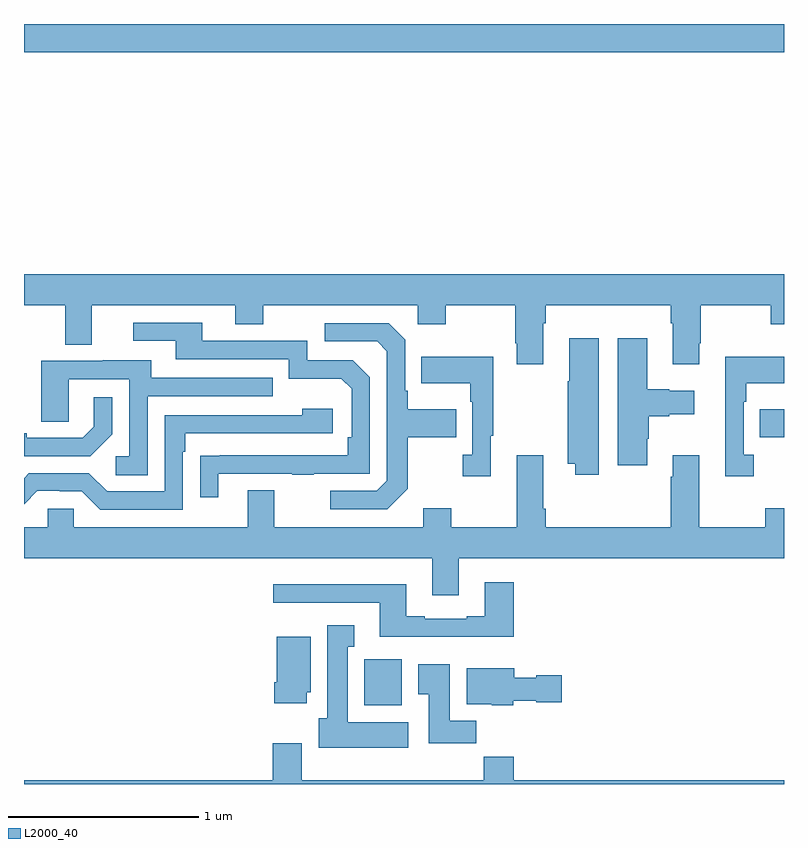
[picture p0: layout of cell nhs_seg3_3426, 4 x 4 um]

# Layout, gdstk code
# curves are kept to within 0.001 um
import gdstk
lib = gdstk.Library(unit=1e-6, precision=1e-09)
def R(c, l, rs):  # rectangles x0, y0, x1, y1
    for r in rs: c.add(gdstk.rectangle(r[:2], r[2:], *l))
def P(c, l, *ps):  # polygons
    for p in ps: c.add(gdstk.Polygon(p, *l))
L2000_40 = (2000, 40)

nhs_seg3_3426 = lib.new_cell('nhs_seg3_3426')
R(nhs_seg3_3426, L2000_40, [(290.792,694.814,290.989,695.056), (292.873,696.226,293,696.373), (289,698.252,293,698.4)])
P(nhs_seg3_3426, L2000_40, [(291.733,696.824),(291.746,696.824),(291.746,696.92),(292.403,696.92),(292.403,696.824),(292.415,696.824),(292.415,696.609),(292.555,696.609),(292.555,696.721),(292.563,696.721),(292.563,696.92),(292.93,696.92),(292.93,696.821),(293,696.821),(293,697.084),(289,697.084),(289,696.92),(289.217,696.92),(289.217,696.712),(289.357,696.712),(289.357,696.92),(290.111,696.92),(290.111,696.821),(290.259,696.821),(290.259,696.92),(291.072,696.92),(291.072,696.821),(291.219,696.821),(291.219,696.92),(291.586,696.92),(291.586,696.721),(291.593,696.721),(291.593,696.609),(291.733,696.609)],
  [(290.023,696.033),(290.413,696.033),(290.413,696.028),(290.525,696.028),(290.525,696.033),(290.82,696.033),(290.82,696.54),(290.73,696.63),(290.49,696.63),(290.49,696.732),(289.939,696.732),(289.939,696.828),(289.575,696.828),(289.575,696.732),(289.799,696.732),(289.799,696.636),(290.394,696.636),(290.394,696.533),(290.671,696.533),(290.724,696.48),(290.724,696.226),(290.704,696.226),(290.704,696.129),(289.927,696.128),(289.927,695.91),(290.023,695.91)],
  [(291.019,695.953),(291.019,696.226),(291.275,696.226),(291.275,696.373),(291.019,696.373),(291.019,696.469),(291.006,696.469),(291.006,696.738),(290.919,696.825),(290.583,696.825),(290.583,696.729),(290.859,696.729),(290.91,696.678),(290.91,695.997),(290.856,695.943),(290.613,695.943),(290.613,695.847),(290.913,695.847)],
  [(292.024,696.745),(291.869,696.745),(291.869,696.521),(291.862,696.521),(291.862,696.086),(291.902,696.086),(291.902,696.027),(292.024,696.027)],
  [(292.279,696.217),(292.287,696.217),(292.287,696.335),(292.395,696.335),(292.395,696.347),(292.528,696.347),(292.528,696.469),(292.395,696.469),(292.395,696.477),(292.279,696.477),(292.279,696.745),(292.124,696.745),(292.124,696.078),(292.279,696.078)],
  [(291.457,696.233),(291.469,696.233),(291.469,696.649),(291.091,696.649),(291.091,696.509),(291.348,696.509),(291.348,696.413),(291.36,696.413),(291.36,696.134),(291.309,696.134),(291.309,696.021),(291.457,696.021)],
  [(292.84,696.134),(292.788,696.134),(292.788,696.413),(292.801,696.413),(292.801,696.509),(293,696.509),(293,696.649),(292.691,696.649),(292.691,696.021),(292.84,696.021)],
  [(289.65,696.441),(290.309,696.441),(290.309,696.537),(289.669,696.537),(289.669,696.631),(289.415,696.631),(289.415,696.627),(289.091,696.627),(289.091,696.307),(289.236,696.307),(289.236,696.531),(289.554,696.531),(289.554,696.126),(289.482,696.126),(289.482,696.025),(289.65,696.025)],
  [(289.464,696.242),(289.464,696.436),(289.367,696.436),(289.367,696.279),(289.31,696.222),(289.015,696.222),(289.015,696.245),(289,696.245),(289,696.126),(289.348,696.126)],
  [(289.836,696.149),(289.849,696.149),(289.849,696.246),(290.626,696.246),(290.626,696.376),(290.465,696.376),(290.465,696.342),(289.74,696.342),(289.74,695.94),(289.437,695.94),(289.341,696.036),(289.026,696.036),(289,696.01),(289,695.872),(289.071,695.943),(289.187,695.943),(289.187,695.94),(289.305,695.94),(289.401,695.844),(289.836,695.844)],
  [(291.289,695.588),(293,695.588),(293,695.851),(292.9,695.851),(292.9,695.752),(292.555,695.752),(292.555,696.13),(292.415,696.13),(292.415,696.017),(292.403,696.017),(292.403,695.752),(291.746,695.752),(291.746,695.848),(291.733,695.848),(291.733,696.13),(291.593,696.13),(291.593,695.752),(291.249,695.752),(291.249,695.851),(291.101,695.851),(291.101,695.752),(290.317,695.752),(290.317,695.947),(290.177,695.947),(290.177,695.752),(289.263,695.752),(289.263,695.85),(289.125,695.85),(289.125,695.752),(289,695.752),(289,695.588),(291.149,695.588),(291.149,695.394),(291.289,695.394)],
  [(291.578,695.461),(291.425,695.461),(291.425,695.284),(291.329,695.284),(291.329,695.271),(291.109,695.271),(291.109,695.284),(291.013,695.284),(291.013,695.452),(290.313,695.452),(290.313,695.355),(290.873,695.355),(290.873,695.174),(291.578,695.174)],
  [(291.022,694.726),(290.704,694.726),(290.704,695.123),(290.737,695.123),(290.737,695.236),(290.597,695.236),(290.597,694.746),(290.552,694.746),(290.552,694.592),(291.022,694.592)],
  [(290.488,694.884),(290.509,694.884),(290.509,695.176),(290.33,695.176),(290.33,694.936),(290.318,694.936),(290.318,694.824),(290.488,694.824)],
  [(291.38,694.732),(291.241,694.732),(291.241,695.029),(291.074,695.029),(291.074,694.873),(291.131,694.873),(291.131,694.614),(291.38,694.614)],
  [(291.576,694.838),(291.696,694.838),(291.696,694.831),(291.829,694.831),(291.829,694.973),(291.696,694.973),(291.696,694.96),(291.58,694.96),(291.58,695.008),(291.329,695.008),(291.329,694.82),(291.462,694.82),(291.462,694.814),(291.576,694.814)],
  [(293,694.42),(291.578,694.42),(291.578,694.544),(291.421,694.544),(291.421,694.42),(290.461,694.42),(290.461,694.615),(290.309,694.615),(290.309,694.42),(289,694.42),(289,694.4),(293,694.4)])

lib.write_gds('nhs_seg3_3426.gds')
